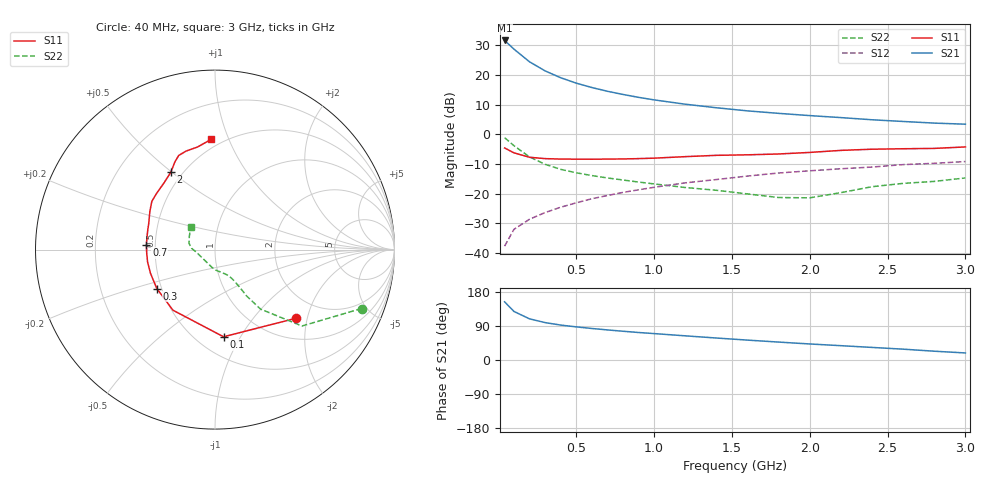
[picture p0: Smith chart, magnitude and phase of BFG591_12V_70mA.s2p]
! Filename:  BFG591G.S2P  Version:  4.0
! Philips part #: BFG591  Date: Jun 1994
! Bias condition: Vce=12V; Ic=70mA
#  MHz  S  MA  R  50
! Freq  S11  S21  S12  S22  !GUM [dB]
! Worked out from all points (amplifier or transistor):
!   21 points, 40 MHz to 3 GHz, reference 50 ohm
!   highest |S21| = 31.7 dB at 40 MHz (marker M1)
!   |S21| within 3 dB of that: start of sweep to 101.8 MHz
!   unconditionally stable (mu >= 1): 627.8 MHz to 2.179 GHz
!   at 300 MHz: K = 0.84, MSG = 23.9 dB, |S12| = -26.4 dB
!   at 1 GHz: K = 1.05, MAG = 13.4 dB, |S12| = -17.9 dB
!   at 3 GHz: K = 0.95, MSG = 6.3 dB, |S12| = -9.2 dB
!   S11 on the Smith chart (normalised r, x): 40 MHz: 1.45, -1.70; 100 MHz: 0.67, -0.85; 300 MHz: 0.47, -0.24; 700 MHz: 0.45, +0.03; 2 GHz: 0.43, +0.50; 3 GHz: 0.44, +0.86
40  0.59 -40.5  38.43 153.5  0.013 72.6  0.88 -21.9
100  0.488 -84.4  27.44 128.1  0.025 62.0  0.645 -41.3
200  0.411 -124.8  16.77 108.6  0.037 60.2  0.417 -52.6
300  0.39 -146.2  11.79 98.7  0.048 62.3  0.313 -55.7
400  0.383 -159.7  9.034 92.2  0.059 64.5  0.257 -56.6
500  0.382 -169.5  7.319 87.4  0.07 66.0  0.225 -57.6
600  0.381 -177.2  6.178 83.2  0.082 66.5  0.202 -58.6
700  0.383 176.2  5.341 79.4  0.093 67.0  0.184 -60.0
800  0.385 170.0  4.718 75.9  0.105 67.0  0.17 -61.8
900  0.39 163.9  4.217 72.6  0.116 67.0  0.157 -64.3
1000  0.397 158.4  3.822 69.7  0.128 66.6  0.146 -67.8
1200  0.421 149.5  3.229 63.8  0.152 65.2  0.127 -77.3
1400  0.443 142.6  2.814 58.0  0.173 63.4  0.114 -88.4
1600  0.452 135.9  2.492 52.5  0.198 62.2  0.099 -101.0
1800  0.467 127.7  2.264 47.3  0.223 59.1  0.086 -118.0
2000  0.496 119.8  2.074 42.3  0.243 57.3  0.085 -147.4
2200  0.537 114.6  1.92 37.8  0.263 55.1  0.104 -171.6
2400  0.562 111.1  1.764 33.2  0.281 54.1  0.131 176.7
2600  0.572 106.4  1.651 28.6  0.309 50.4  0.149 166.2
2800  0.58 99.6  1.55 23.2  0.325 46.5  0.161 152.7
3000  0.614 92.1  1.485 18.6  0.348 45.0  0.184 137.1
